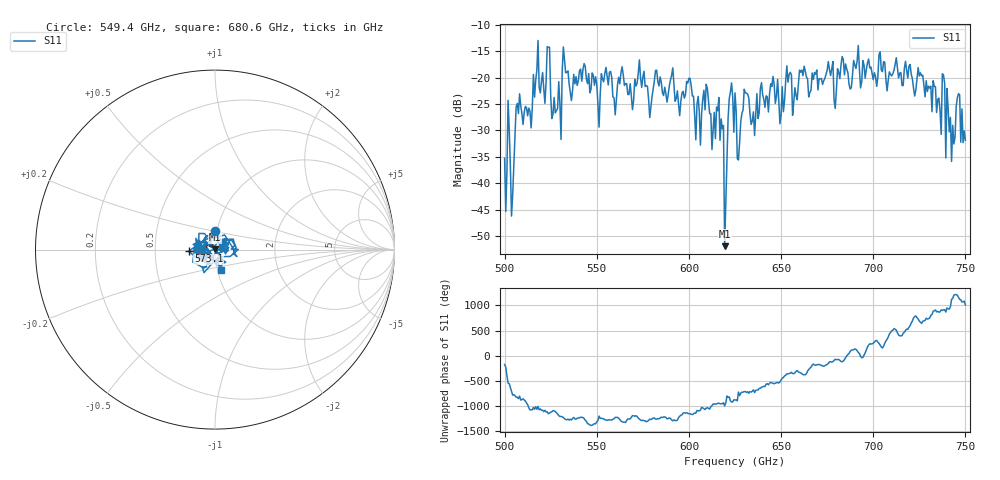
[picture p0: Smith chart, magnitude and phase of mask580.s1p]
!Created with skrf (http://scikit-rf.org).
# GHz S MA R 50.0
!freq magS11 angS11
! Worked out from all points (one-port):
!   401 points, 500 GHz to 750 GHz, reference 50 ohm
!   lowest |S11| = -51.9 dB at 619.4 GHz (marker M1), VSWR 1.01, Z = 50 + j0.253 ohm
!   |S11| at or under -10 dB: start of sweep to end of sweep
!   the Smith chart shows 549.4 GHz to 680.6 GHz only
!   S11 on the Smith chart (normalised r, x): 549.4 GHz: 0.98, +0.20; 573.1 GHz: 0.74, -0.01; 680.6 GHz: 1.04, -0.25
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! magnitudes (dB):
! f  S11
! 500 GHz  -35.3
! 504.4 GHz  -42.2
! 507.5 GHz  -26.8
! 513.8 GHz  -26.3
! 516.9 GHz  -20.5
! 523.8 GHz  -14.3
! 526.9 GHz  -23.7
! 531.2 GHz  -18.7
! 549.4 GHz  -19.8
! 562.5 GHz  -21.1
! 573.1 GHz  -16.6
! 593.8 GHz  -22.5
! 609.4 GHz  -21.2
! 617.5 GHz  -27.8
! 619.4 GHz  -51.9
! 622.5 GHz  -22.7
! 625 GHz  -22.9
! 627.5 GHz  -32.3
! 631.2 GHz  -22.9
! 635 GHz  -26.5
! 656.2 GHz  -27.1
! 680.6 GHz  -18.3
! 687.5 GHz  -22.2
! 718.8 GHz  -20.1
! 738.8 GHz  -21.1
! 743.1 GHz  -29.0
! 746.9 GHz  -23.2
! 750 GHz  -31.8
